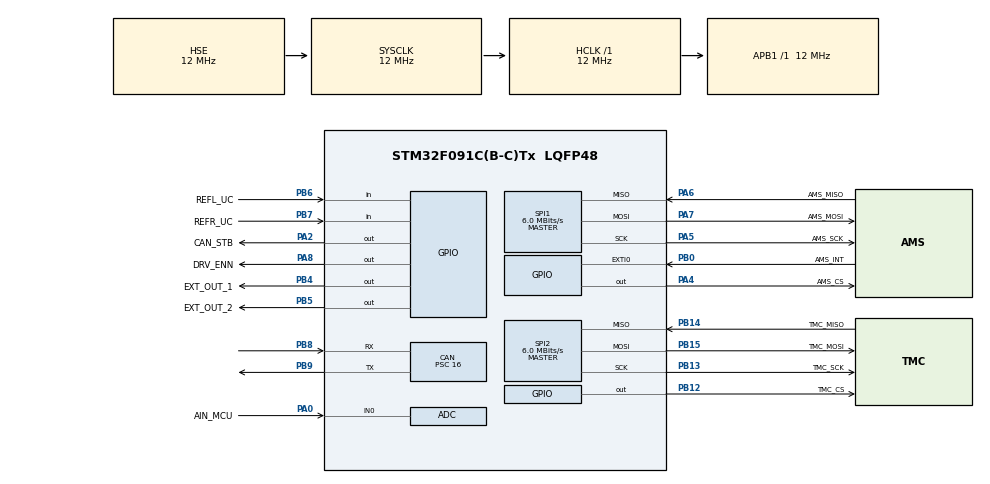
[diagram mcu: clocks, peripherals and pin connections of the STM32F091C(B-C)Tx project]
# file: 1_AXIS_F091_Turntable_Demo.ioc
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CAN.BS1=CAN_BS1_2TQ
CAN.CalculateBaudRate=187500
CAN.CalculateTimeBit=5333
CAN.CalculateTimeQuantum=1333.3333333333333
CAN.Mode=CAN_MODE_NORMAL
CAN.Prescaler=16
Mcu.Family=STM32F0
Mcu.Name=STM32F091C(B-C)Tx
Mcu.Package=LQFP48
NVIC.CEC_CAN_IRQn=true\:0\:0\:false\:false\:true\:true\:true\:true
NVIC.EXTI0_1_IRQn=true\:0\:0\:false\:false\:true\:true\:true\:true
PA0.GPIO_Label=AIN_MCU
PA0.Mode=IN0
PA0.Signal=ADC_IN0
PA13.GPIO_Label=SWDIO
PA13.Mode=Serial_Wire
PA13.Signal=SYS_SWDIO
PA14.GPIO_Label=SWCLK
PA14.Mode=Serial_Wire
PA14.Signal=SYS_SWCLK
PA2.GPIO_Label=CAN_STB
PA2.Signal=GPIO_Output
PA4.GPIO_Label=AMS_CS
PA4.Signal=GPIO_Output
PA5.GPIO_Label=AMS_SCK
PA5.Mode=Full_Duplex_Master
PA5.Signal=SPI1_SCK
PA6.GPIO_Label=AMS_MISO
PA6.Mode=Full_Duplex_Master
PA6.Signal=SPI1_MISO
PA7.GPIO_Label=AMS_MOSI
PA7.Mode=Full_Duplex_Master
PA7.Signal=SPI1_MOSI
PA8.GPIO_Label=DRV_ENN
PA8.Signal=GPIO_Output
PB0.GPIO_Label=AMS_INT
PB0.GPIO_ModeDefaultEXTI=GPIO_MODE_IT_RISING
PB0.Signal=GPXTI0
PB12.GPIO_Label=TMC_CS
PB12.Signal=GPIO_Output
PB13.GPIO_Label=TMC_SCK
PB13.Mode=Full_Duplex_Master
PB13.Signal=SPI2_SCK
PB14.GPIO_Label=TMC_MISO
PB14.Mode=Full_Duplex_Master
PB14.Signal=SPI2_MISO
PB15.GPIO_Label=TMC_MOSI
PB15.Mode=Full_Duplex_Master
PB15.Signal=SPI2_MOSI
PB4.GPIO_Label=EXT_OUT_1
PB4.Signal=GPIO_Output
PB5.GPIO_Label=EXT_OUT_2
PB5.Signal=GPIO_Output
PB6.GPIO_Label=REFL_UC
PB6.GPIO_PuPd=GPIO_PULLUP
PB6.Signal=GPIO_Input
PB7.GPIO_Label=REFR_UC
PB7.Signal=GPIO_Input
PB8.Mode=CAN_Activate
PB8.Signal=CAN_RX
PB9.Mode=CAN_Activate
PB9.Signal=CAN_TX
PF0-OSC_IN.Mode=HSE-External-Oscillator
PF0-OSC_IN.Signal=RCC_OSC_IN
PF1-OSC_OUT.Mode=HSE-External-Oscillator
PF1-OSC_OUT.Signal=RCC_OSC_OUT
ProjectManager.HeapSize=0x200
ProjectManager.StackSize=0x400
ProjectManager.TargetToolchain=STM32CubeIDE
RCC.AHBFreq_Value=12000000
RCC.APB1Freq_Value=12000000
RCC.APB1TimFreq_Value=12000000
RCC.HCLKFreq_Value=12000000
RCC.HSE_VALUE=12000000
RCC.PLLSourceVirtual=RCC_PLLSOURCE_HSE
RCC.SYSCLKFreq_VALUE=12000000
RCC.SYSCLKSource=RCC_SYSCLKSOURCE_HSE
SPI1.BaudRatePrescaler=SPI_BAUDRATEPRESCALER_2
SPI1.CLKPhase=SPI_PHASE_2EDGE
SPI1.CalculateBaudRate=6.0 MBits/s
SPI1.DataSize=SPI_DATASIZE_8BIT
SPI1.Direction=SPI_DIRECTION_2LINES
SPI1.Mode=SPI_MODE_MASTER
SPI1.VirtualType=VM_MASTER
SPI2.CalculateBaudRate=6.0 MBits/s
SPI2.DataSize=SPI_DATASIZE_8BIT
SPI2.Direction=SPI_DIRECTION_2LINES
SPI2.Mode=SPI_MODE_MASTER
SPI2.VirtualType=VM_MASTER
board=custom

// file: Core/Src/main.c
/* USER CODE BEGIN Header */
/**
  ******************************************************************************
  * @file           : main.c
  * @brief          : Main program body
  ******************************************************************************
  * @attention
  *
  * Copyright (c) 2022 STMicroelectronics.
  * All rights reserved.
  *
  * This software is licensed under terms that can be found in the LICENSE file
  * in the root directory of this software component.
  * If no LICENSE file comes with this software, it is provided AS-IS.
  *
  ******************************************************************************
  */
/* USER CODE END Header */
#include "main.h"

 ADC_HandleTypeDef hadc;

CAN_HandleTypeDef hcan;

SPI_HandleTypeDef hspi1;
SPI_HandleTypeDef hspi2;

void SystemClock_Config(void);
static void MX_GPIO_Init(void);
static void MX_ADC_Init(void);
static void MX_CAN_Init(void);
static void MX_SPI1_Init(void);
static void MX_SPI2_Init(void);

/* USER CODE BEGIN 0 */

/* RAMP config */
RampConfig Ramp1;
RampConfig StopRamp1;

/* Current config */
CurrentConfig CurrentSetting1;

/* CAN VARIABLES */  //TODO: wegwerken in SSM1ST24HC library
CAN_TxHeaderTypeDef CANTxHeader;
CAN_RxHeaderTypeDef CANRxHeader;
uint8_t CANTxData[8];	//CANTX data array
uint8_t CANRxData[8];	//CANRX data array
uint32_t TxMailbox[3];	//CAN Mailbox
int Datacheck;			//CAN Datacheck

/* AMS VARIABLES */ //TODO: wegwerken in SSM1ST24HC library
uint16_t Angles[4100];	//buffer for logging
int Ax = 0;				// counter for buffer
uint8_t AMS_Ready;		//check for interrupt

/* Settings */
int AMS_ENB = 0; // 0 = disable Hall sensor , 1 = enable Hall sensor
int ENC_ENB = 0; // 0 = disable Encoder , 1 = enable Encoder
int STG_ENB = 0; // 0 = disable Stallguard, 1 = enable Stallguard

// temp val for GPIO test
int Readin2 = 0;
int Number_Of_Steps = 0;
int Axis_init = 0;

uint32_t Steps[12] = {4267, 8533, 12800, 17067, 21333, 25600, 29867, 34133, 38400, 42667, 46933, 51200};

/*  CAN RECEIVE INTERRUPT */
void HAL_CAN_RxFifo0MsgPendingCallback(CAN_HandleTypeDef *hcan)
{
	HAL_CAN_GetRxMessage(hcan, CAN_RX_FIFO0, &CANRxHeader, CANRxData);

	if (CANRxData[0] == 0x01)
	{
		Datacheck = 1;
	}
}

/* AMS INTERRUPT */
void HAL_GPIO_EXTI_Callback(uint16_t GPIO_Pin)
{
	if(GPIO_Pin == AMS_INT_Pin && AMS_Ready == 0)
	{
		AMS_Ready = 1;
	}
}
/* USER CODE END 0 */

int main(void)
{

  /* MCU Configuration--------------------------------------------------------*/

  /* Reset of all peripherals, Initializes the Flash interface and the Systick. */

	HAL_Init();

  /* USER CODE BEGIN Init */

	//HAL_Delay(1000);

  /* USER CODE END Init */

  /* Configure the system clock */
  SystemClock_Config();

  /* Initialize all configured peripherals */
  MX_GPIO_Init();
  MX_ADC_Init();
  MX_CAN_Init();
  MX_SPI1_Init();
  MX_SPI2_Init();
  /* USER CODE BEGIN 2 */

  TMC5160_Stop();
  Drive_Enable(0);
  HAL_Delay(6000);	//startup delay to charge caps

  Ramp1.VSTART 	= 10;
  Ramp1.A1 		= 1000;   //1000
  Ramp1.V1 		= 10000;  //10000
  Ramp1.AMAX 	= 12800; //12800
  Ramp1.VMAX 	= 12800; //12800
  Ramp1.DMAX 	= 700;	 //700
  Ramp1.D1 		= 1400;  //1400
  Ramp1.VSTOP 	= 10;

  CurrentSetting1.IHOLD = 5;
  CurrentSetting1.IRUN 	= 15;

  TMC5160_Basic_Init(&CurrentSetting1);

  TMC5160_SPIWrite(0x21, 0x00000000, 1);// writing value to address 24 = 0x2D(XTARGET)  1 lap
  Drive_Enable(1); // enable driver

  //test movement
  TMC5160_Rotate_To(4267, &Ramp1);
  HAL_Delay(100);

  // Wacht op signaal 1_axis

  while(Axis_init == 0)
  {
	  if(Read_IN(2) == 1) //Wait for 1_AXIS signal to start
	  {
		  while(Read_IN(2) == 0)
		  {
		  }

		  HAL_Delay(100);
		  Axis_init = 1;

		  HAL_GPIO_WritePin(GPIOB,EXT_OUT_2_Pin,1);
		  HAL_Delay(500);
		  HAL_GPIO_WritePin(GPIOB,EXT_OUT_2_Pin,0);
	  }
  }

  /* USER CODE END 2 */

  /* Infinite loop */
  while (1)
  {
    /* USER CODE BEGIN 3 */

	  // Wacht op signaal 1_axis
	  while(Read_IN(2) == 1) //Wait for 1_AXIS signal to start
	  {
	  }

	  TMC5160_Rotate_To(Steps[Number_Of_Steps], &Ramp1); // move to Position X

	  Number_Of_Steps++;

	  if(Number_Of_Steps > 11)
	  {
		  Drive_Enable(0); // Disable driver
		  HAL_Delay(1000);
		  TMC5160_SPIWrite(0x21, 0x00000000, 1);// writing value to address 24 = 0x2D(XTARGET)  1 lap
		  Number_Of_Steps = 0;
		  TMC5160_Rotate_To(0, &Ramp1);
		  Drive_Enable(1); // enable driver
	  }

	  HAL_GPIO_WritePin(GPIOB,EXT_OUT_2_Pin,1);
	  HAL_Delay(1000);
	  HAL_GPIO_WritePin(GPIOB,EXT_OUT_2_Pin,0);

  }
  /* USER CODE END 3 */
}

void SystemClock_Config(void)
{
  RCC_OscInitTypeDef RCC_OscInitStruct = {0};
  RCC_ClkInitTypeDef RCC_ClkInitStruct = {0};

  /** Initializes the RCC Oscillators according to the specified parameters
  * in the RCC_OscInitTypeDef structure.
  */
  RCC_OscInitStruct.OscillatorType = RCC_OSCILLATORTYPE_HSI14|RCC_OSCILLATORTYPE_HSE;
  RCC_OscInitStruct.HSEState = RCC_HSE_ON;
  RCC_OscInitStruct.HSI14State = RCC_HSI14_ON;
  RCC_OscInitStruct.HSI14CalibrationValue = 16;
  RCC_OscInitStruct.PLL.PLLState = RCC_PLL_NONE;
  if (HAL_RCC_OscConfig(&RCC_OscInitStruct) != HAL_OK)
  {
    Error_Handler();
  }

  /** Initializes the CPU, AHB and APB buses clocks
  */
  RCC_ClkInitStruct.ClockType = RCC_CLOCKTYPE_HCLK|RCC_CLOCKTYPE_SYSCLK
                              |RCC_CLOCKTYPE_PCLK1;
  RCC_ClkInitStruct.SYSCLKSource = RCC_SYSCLKSOURCE_HSE;
  RCC_ClkInitStruct.AHBCLKDivider = RCC_SYSCLK_DIV1;
  RCC_ClkInitStruct.APB1CLKDivider = RCC_HCLK_DIV1;

  if (HAL_RCC_ClockConfig(&RCC_ClkInitStruct, FLASH_LATENCY_0) != HAL_OK)
  {
    Error_Handler();
  }
}

static void MX_ADC_Init(void)
{

  ADC_ChannelConfTypeDef sConfig = {0};

  /** Configure the global features of the ADC (Clock, Resolution, Data Alignment and number of conversion)
  */
  hadc.Instance = ADC1;
  hadc.Init.ClockPrescaler = ADC_CLOCK_ASYNC_DIV1;
  hadc.Init.Resolution = ADC_RESOLUTION_12B;
  hadc.Init.DataAlign = ADC_DATAALIGN_RIGHT;
  hadc.Init.ScanConvMode = ADC_SCAN_DIRECTION_FORWARD;
  hadc.Init.EOCSelection = ADC_EOC_SINGLE_CONV;
  hadc.Init.LowPowerAutoWait = DISABLE;
  hadc.Init.LowPowerAutoPowerOff = DISABLE;
  hadc.Init.ContinuousConvMode = DISABLE;
  hadc.Init.DiscontinuousConvMode = DISABLE;
  hadc.Init.ExternalTrigConv = ADC_SOFTWARE_START;
  hadc.Init.ExternalTrigConvEdge = ADC_EXTERNALTRIGCONVEDGE_NONE;
  hadc.Init.DMAContinuousRequests = DISABLE;
  hadc.Init.Overrun = ADC_OVR_DATA_PRESERVED;
  if (HAL_ADC_Init(&hadc) != HAL_OK)
  {
    Error_Handler();
  }

  /** Configure for the selected ADC regular channel to be converted.
  */
  sConfig.Channel = ADC_CHANNEL_0;
  sConfig.Rank = ADC_RANK_CHANNEL_NUMBER;
  sConfig.SamplingTime = ADC_SAMPLETIME_1CYCLE_5;
  if (HAL_ADC_ConfigChannel(&hadc, &sConfig) != HAL_OK)
  {
    Error_Handler();
  }

}

static void MX_CAN_Init(void)
{

  /* USER CODE BEGIN CAN_Init 0 */
  HAL_GPIO_WritePin(GPIOA,CAN_STB_Pin,0); // Set STB pin LOW for normal operation
  /* USER CODE END CAN_Init 0 */

  hcan.Instance = CAN;
  hcan.Init.Prescaler = 16;
  hcan.Init.Mode = CAN_MODE_NORMAL;
  hcan.Init.SyncJumpWidth = CAN_SJW_1TQ;
  hcan.Init.TimeSeg1 = CAN_BS1_2TQ;
  hcan.Init.TimeSeg2 = CAN_BS2_1TQ;
  hcan.Init.TimeTriggeredMode = DISABLE;
  hcan.Init.AutoBusOff = DISABLE;
  hcan.Init.AutoWakeUp = DISABLE;
  hcan.Init.AutoRetransmission = DISABLE;
  hcan.Init.ReceiveFifoLocked = DISABLE;
  hcan.Init.TransmitFifoPriority = DISABLE;
  if (HAL_CAN_Init(&hcan) != HAL_OK)
  {
    Error_Handler();
  }
  /* USER CODE BEGIN CAN_Init 2 */

  /* CAN filter */

  CAN_FilterTypeDef  sFilterConfig;

  sFilterConfig.FilterActivation = ENABLE;
  sFilterConfig.FilterBank = 10;
  sFilterConfig.FilterFIFOAssignment = CAN_RX_FIFO0;
  sFilterConfig.FilterIdHigh = 0x0000;
  sFilterConfig.FilterIdLow = 0x0000;
  sFilterConfig.FilterMaskIdHigh = 0x0000;
  sFilterConfig.FilterMaskIdLow = 0x0000;
  sFilterConfig.FilterMode = CAN_FILTERMODE_IDMASK;
  sFilterConfig.FilterScale = CAN_FILTERSCALE_32BIT;
  sFilterConfig.SlaveStartFilterBank = 0;

  HAL_CAN_ConfigFilter(&hcan, &sFilterConfig);

  HAL_CAN_Start(&hcan);
  HAL_CAN_ActivateNotification(&hcan, CAN_IT_RX_FIFO0_MSG_PENDING);

  /* USER CODE END CAN_Init 2 */

}

static void MX_SPI1_Init(void)
{

  /* SPI1 parameter configuration*/
  hspi1.Instance = SPI1;
  hspi1.Init.Mode = SPI_MODE_MASTER;
  hspi1.Init.Direction = SPI_DIRECTION_2LINES;
  hspi1.Init.DataSize = SPI_DATASIZE_8BIT;
  hspi1.Init.CLKPolarity = SPI_POLARITY_LOW;
  hspi1.Init.CLKPhase = SPI_PHASE_2EDGE;
  hspi1.Init.NSS = SPI_NSS_SOFT;
  hspi1.Init.BaudRatePrescaler = SPI_BAUDRATEPRESCALER_2;
  hspi1.Init.FirstBit = SPI_FIRSTBIT_MSB;
  hspi1.Init.TIMode = SPI_TIMODE_DISABLE;
  hspi1.Init.CRCCalculation = SPI_CRCCALCULATION_DISABLE;
  hspi1.Init.CRCPolynomial = 7;
  hspi1.Init.CRCLength = SPI_CRC_LENGTH_DATASIZE;
  hspi1.Init.NSSPMode = SPI_NSS_PULSE_DISABLE;
  if (HAL_SPI_Init(&hspi1) != HAL_OK)
  {
    Error_Handler();
  }

}

static void MX_SPI2_Init(void)
{

  /* SPI2 parameter configuration*/
  hspi2.Instance = SPI2;
  hspi2.Init.Mode = SPI_MODE_MASTER;
  hspi2.Init.Direction = SPI_DIRECTION_2LINES;
  hspi2.Init.DataSize = SPI_DATASIZE_8BIT;
  hspi2.Init.CLKPolarity = SPI_POLARITY_LOW;
  hspi2.Init.CLKPhase = SPI_PHASE_1EDGE;
  hspi2.Init.NSS = SPI_NSS_SOFT;
  hspi2.Init.BaudRatePrescaler = SPI_BAUDRATEPRESCALER_2;
  hspi2.Init.FirstBit = SPI_FIRSTBIT_MSB;
  hspi2.Init.TIMode = SPI_TIMODE_DISABLE;
  hspi2.Init.CRCCalculation = SPI_CRCCALCULATION_DISABLE;
  hspi2.Init.CRCPolynomial = 7;
  hspi2.Init.CRCLength = SPI_CRC_LENGTH_DATASIZE;
  hspi2.Init.NSSPMode = SPI_NSS_PULSE_ENABLE;
  if (HAL_SPI_Init(&hspi2) != HAL_OK)
  {
    Error_Handler();
  }

}

static void MX_GPIO_Init(void)
{
  GPIO_InitTypeDef GPIO_InitStruct = {0};

  /* GPIO Ports Clock Enable */
  __HAL_RCC_GPIOF_CLK_ENABLE();
  __HAL_RCC_GPIOA_CLK_ENABLE();
  __HAL_RCC_GPIOB_CLK_ENABLE();

  /*Configure GPIO pin Output Level */
  HAL_GPIO_WritePin(GPIOA, CAN_STB_Pin|AMS_CS_Pin, GPIO_PIN_RESET);
  HAL_GPIO_WritePin(GPIOA,DRV_ENN_Pin,1);// set DRV enable High so it is not active

  /*Configure GPIO pin Output Level */
  HAL_GPIO_WritePin(GPIOB, TMC_CS_Pin|EXT_OUT_1_Pin|EXT_OUT_2_Pin, GPIO_PIN_RESET);

  /*Configure GPIO pins : CAN_STB_Pin AMS_CS_Pin DRV_ENN_Pin */
  GPIO_InitStruct.Pin = CAN_STB_Pin|AMS_CS_Pin|DRV_ENN_Pin;
  GPIO_InitStruct.Mode = GPIO_MODE_OUTPUT_PP;
  GPIO_InitStruct.Pull = GPIO_NOPULL;
  GPIO_InitStruct.Speed = GPIO_SPEED_FREQ_LOW;
  HAL_GPIO_Init(GPIOA, &GPIO_InitStruct);

  /*Configure GPIO pin : AMS_INT_Pin */
  GPIO_InitStruct.Pin = AMS_INT_Pin;
  GPIO_InitStruct.Mode = GPIO_MODE_IT_RISING;
  GPIO_InitStruct.Pull = GPIO_NOPULL;
  HAL_GPIO_Init(AMS_INT_GPIO_Port, &GPIO_InitStruct);

  /*Configure GPIO pins : TMC_CS_Pin EXT_OUT_1_Pin EXT_OUT_2_Pin */
  GPIO_InitStruct.Pin = TMC_CS_Pin|EXT_OUT_1_Pin|EXT_OUT_2_Pin;
  GPIO_InitStruct.Mode = GPIO_MODE_OUTPUT_PP;
  GPIO_InitStruct.Pull = GPIO_NOPULL;
  GPIO_InitStruct.Speed = GPIO_SPEED_FREQ_LOW;
  HAL_GPIO_Init(GPIOB, &GPIO_InitStruct);

  /*Configure GPIO pin : REFL_UC_Pin */
  GPIO_InitStruct.Pin = REFL_UC_Pin;
  GPIO_InitStruct.Mode = GPIO_MODE_INPUT;
  GPIO_InitStruct.Pull = GPIO_PULLUP;
  HAL_GPIO_Init(REFL_UC_GPIO_Port, &GPIO_InitStruct);

  /*Configure GPIO pin : REFR_UC_Pin */
  GPIO_InitStruct.Pin = REFR_UC_Pin;
  GPIO_InitStruct.Mode = GPIO_MODE_INPUT;
  GPIO_InitStruct.Pull = GPIO_NOPULL;
  HAL_GPIO_Init(REFR_UC_GPIO_Port, &GPIO_InitStruct);

  /* EXTI interrupt init*/
  HAL_NVIC_SetPriority(EXTI0_1_IRQn, 0, 0);
  HAL_NVIC_EnableIRQ(EXTI0_1_IRQn);

}

void Error_Handler(void)
{
  __disable_irq();
  while (1)
  {
  }
}
